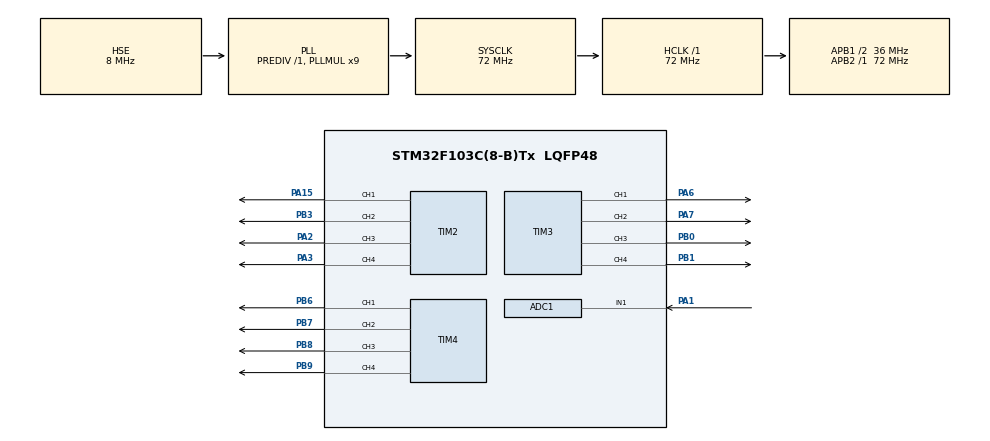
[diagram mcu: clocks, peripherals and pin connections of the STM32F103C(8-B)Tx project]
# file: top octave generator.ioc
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ADC1.Channel-1\#ChannelRegularConversion=ADC_CHANNEL_1
ADC1.NbrOfConversionFlag=1
ADC1.Rank-1\#ChannelRegularConversion=1
ADC1.SamplingTime-1\#ChannelRegularConversion=ADC_SAMPLETIME_1CYCLE_5
ADC1.master=1
Mcu.Family=STM32F1
Mcu.Name=STM32F103C(8-B)Tx
Mcu.Package=LQFP48
NVIC.PriorityGroup=NVIC_PRIORITYGROUP_4
PA1.Signal=ADCx_IN1
PA15.Signal=S_TIM2_CH1_ETR
PA2.Signal=S_TIM2_CH3
PA3.Signal=S_TIM2_CH4
PA6.Signal=S_TIM3_CH1
PA7.Signal=S_TIM3_CH2
PB0.Signal=S_TIM3_CH3
PB1.Signal=S_TIM3_CH4
PB3.Signal=S_TIM2_CH2
PB6.Signal=S_TIM4_CH1
PB7.Signal=S_TIM4_CH2
PB8.Signal=S_TIM4_CH3
PB9.Signal=S_TIM4_CH4
PD0-OSC_IN.Mode=HSE-External-Oscillator
PD0-OSC_IN.Signal=RCC_OSC_IN
PD1-OSC_OUT.Mode=HSE-External-Oscillator
PD1-OSC_OUT.Signal=RCC_OSC_OUT
ProjectManager.HeapSize=0x200
ProjectManager.StackSize=0x400
ProjectManager.TargetToolchain=STM32CubeIDE
RCC.ADCPresc=RCC_ADCPCLK2_DIV6
RCC.AHBFreq_Value=72000000
RCC.APB1CLKDivider=RCC_HCLK_DIV2
RCC.APB1Freq_Value=36000000
RCC.APB1TimFreq_Value=72000000
RCC.APB2Freq_Value=72000000
RCC.APB2TimFreq_Value=72000000
RCC.HCLKFreq_Value=72000000
RCC.PLLMUL=RCC_PLL_MUL9
RCC.PLLSourceVirtual=RCC_PLLSOURCE_HSE
RCC.SYSCLKFreq_VALUE=72000000
RCC.SYSCLKSource=RCC_SYSCLKSOURCE_PLLCLK
RCC.USBFreq_Value=72000000
SH.ADCx_IN1.0=ADC1_IN1,IN1
SH.S_TIM2_CH1_ETR.0=TIM2_CH1,PWM Generation1 CH1
SH.S_TIM2_CH2.0=TIM2_CH2,PWM Generation2 CH2
SH.S_TIM2_CH3.0=TIM2_CH3,PWM Generation3 CH3
SH.S_TIM2_CH4.0=TIM2_CH4,PWM Generation4 CH4
SH.S_TIM3_CH1.0=TIM3_CH1,PWM Generation1 CH1
SH.S_TIM3_CH2.0=TIM3_CH2,PWM Generation2 CH2
SH.S_TIM3_CH3.0=TIM3_CH3,PWM Generation3 CH3
SH.S_TIM3_CH4.0=TIM3_CH4,PWM Generation4 CH4
SH.S_TIM4_CH1.0=TIM4_CH1,PWM Generation1 CH1
SH.S_TIM4_CH2.0=TIM4_CH2,PWM Generation2 CH2
SH.S_TIM4_CH3.0=TIM4_CH3,PWM Generation3 CH3
SH.S_TIM4_CH4.0=TIM4_CH4,PWM Generation4 CH4
TIM2.Channel-PWM\ Generation1\ CH1=TIM_CHANNEL_1
TIM2.Channel-PWM\ Generation2\ CH2=TIM_CHANNEL_2
TIM2.Channel-PWM\ Generation3\ CH3=TIM_CHANNEL_3
TIM2.Channel-PWM\ Generation4\ CH4=TIM_CHANNEL_4
TIM3.Channel-PWM\ Generation1\ CH1=TIM_CHANNEL_1
TIM3.Channel-PWM\ Generation2\ CH2=TIM_CHANNEL_2
TIM3.Channel-PWM\ Generation3\ CH3=TIM_CHANNEL_3
TIM3.Channel-PWM\ Generation4\ CH4=TIM_CHANNEL_4
TIM4.Channel-PWM\ Generation1\ CH1=TIM_CHANNEL_1
TIM4.Channel-PWM\ Generation2\ CH2=TIM_CHANNEL_2
TIM4.Channel-PWM\ Generation3\ CH3=TIM_CHANNEL_3
TIM4.Channel-PWM\ Generation4\ CH4=TIM_CHANNEL_4
VP_SYS_VS_ND.Mode=No_Debug
board=custom

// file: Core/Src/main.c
/* USER CODE BEGIN Header */
/**
  ******************************************************************************
  * @file           : main.c
  * @brief          : Main program body
  ******************************************************************************
  * @attention
  *
  * Copyright (c) 2024 STMicroelectronics.
  * All rights reserved.
  *
  * This software is licensed under terms that can be found in the LICENSE file
  * in the root directory of this software component.
  * If no LICENSE file comes with this software, it is provided AS-IS.
  *
  ******************************************************************************
  */
/* USER CODE END Header */
#include "main.h"

/* USER CODE BEGIN PD */

/* Define PWM periods for the notes C8 to B8 */
#define PWM_PERIOD_C8 17197    // 72 MHz / 4186.01 Hz - 1
#define PWM_PERIOD_CS8 16233   // 72 MHz / 4434.92 Hz - 1
#define PWM_PERIOD_D8 15320    // 72 MHz / 4698.63 Hz - 1
#define PWM_PERIOD_DS8 14459   // 72 MHz / 4978.03 Hz - 1
#define PWM_PERIOD_E8 13649    // 72 MHz / 5274.04 Hz - 1
#define PWM_PERIOD_F8 12888    // 72 MHz / 5587.65 Hz - 1
#define PWM_PERIOD_FS8 12164   // 72 MHz / 5919.91 Hz - 1
#define PWM_PERIOD_G8 11482    // 72 MHz / 6271.93 Hz - 1
#define PWM_PERIOD_GS8 10840   // 72 MHz / 6644.88 Hz - 1
#define PWM_PERIOD_A8 10227    // 72 MHz / 7040.00 Hz - 1
#define PWM_PERIOD_AS8 9640    // 72 MHz / 7458.62 Hz - 1
#define PWM_PERIOD_B8 9112     // 72 MHz / 7902.13 Hz - 1

/* USER CODE END PD */

ADC_HandleTypeDef hadc1;

TIM_HandleTypeDef htim2;
TIM_HandleTypeDef htim3;
TIM_HandleTypeDef htim4;

void SystemClock_Config(void);
static void MX_GPIO_Init(void);
static void MX_ADC1_Init(void);
static void MX_TIM2_Init(void);
static void MX_TIM3_Init(void);
static void MX_TIM4_Init(void);

int main(void)
{

  /* MCU Configuration--------------------------------------------------------*/

  /* Reset of all peripherals, Initializes the Flash interface and the Systick. */
  HAL_Init();

  /* Configure the system clock */
  SystemClock_Config();

  /* Initialize all configured peripherals */
  MX_GPIO_Init();
  MX_ADC1_Init();
  MX_TIM2_Init();
  MX_TIM3_Init();
  MX_TIM4_Init();
  /* USER CODE BEGIN 2 */
  if (HAL_TIM_PWM_Start(&htim2, TIM_CHANNEL_1) != HAL_OK)
  {
    Error_Handler();
  }
  if (HAL_TIM_PWM_Start(&htim2, TIM_CHANNEL_2) != HAL_OK)
  {
    Error_Handler();
  }
  if (HAL_TIM_PWM_Start(&htim2, TIM_CHANNEL_3) != HAL_OK)
  {
    Error_Handler();
  }
  if (HAL_TIM_PWM_Start(&htim2, TIM_CHANNEL_4) != HAL_OK)
  {
    Error_Handler();
  }

  if (HAL_TIM_PWM_Start(&htim3, TIM_CHANNEL_1) != HAL_OK)
  {
    Error_Handler();
  }
  if (HAL_TIM_PWM_Start(&htim3, TIM_CHANNEL_2) != HAL_OK)
  {
    Error_Handler();
  }
  if (HAL_TIM_PWM_Start(&htim3, TIM_CHANNEL_3) != HAL_OK)
  {
    Error_Handler();
  }
  if (HAL_TIM_PWM_Start(&htim3, TIM_CHANNEL_4) != HAL_OK)
  {
    Error_Handler();
  }

  if (HAL_TIM_PWM_Start(&htim4, TIM_CHANNEL_1) != HAL_OK)
  {
    Error_Handler();
  }
  if (HAL_TIM_PWM_Start(&htim4, TIM_CHANNEL_2) != HAL_OK)
  {
    Error_Handler();
  }
  if (HAL_TIM_PWM_Start(&htim4, TIM_CHANNEL_3) != HAL_OK)
  {
    Error_Handler();
  }
  if (HAL_TIM_PWM_Start(&htim4, TIM_CHANNEL_4) != HAL_OK)
  {
    Error_Handler();
  }
  /* USER CODE END 2 */

  /* Infinite loop */
  while (1)
  {

  }
}

void SystemClock_Config(void)
{
  RCC_OscInitTypeDef RCC_OscInitStruct = {0};
  RCC_ClkInitTypeDef RCC_ClkInitStruct = {0};
  RCC_PeriphCLKInitTypeDef PeriphClkInit = {0};

  /** Initializes the RCC Oscillators according to the specified parameters
  * in the RCC_OscInitTypeDef structure.
  */
  RCC_OscInitStruct.OscillatorType = RCC_OSCILLATORTYPE_HSE;
  RCC_OscInitStruct.HSEState = RCC_HSE_ON;
  RCC_OscInitStruct.HSEPredivValue = RCC_HSE_PREDIV_DIV1;
  RCC_OscInitStruct.HSIState = RCC_HSI_ON;
  RCC_OscInitStruct.PLL.PLLState = RCC_PLL_ON;
  RCC_OscInitStruct.PLL.PLLSource = RCC_PLLSOURCE_HSE;
  RCC_OscInitStruct.PLL.PLLMUL = RCC_PLL_MUL9;
  if (HAL_RCC_OscConfig(&RCC_OscInitStruct) != HAL_OK)
  {
    Error_Handler();
  }

  /** Initializes the CPU, AHB and APB buses clocks
  */
  RCC_ClkInitStruct.ClockType = RCC_CLOCKTYPE_HCLK|RCC_CLOCKTYPE_SYSCLK
                              |RCC_CLOCKTYPE_PCLK1|RCC_CLOCKTYPE_PCLK2;
  RCC_ClkInitStruct.SYSCLKSource = RCC_SYSCLKSOURCE_PLLCLK;
  RCC_ClkInitStruct.AHBCLKDivider = RCC_SYSCLK_DIV1;
  RCC_ClkInitStruct.APB1CLKDivider = RCC_HCLK_DIV2;
  RCC_ClkInitStruct.APB2CLKDivider = RCC_HCLK_DIV1;

  if (HAL_RCC_ClockConfig(&RCC_ClkInitStruct, FLASH_LATENCY_2) != HAL_OK)
  {
    Error_Handler();
  }
  PeriphClkInit.PeriphClockSelection = RCC_PERIPHCLK_ADC;
  PeriphClkInit.AdcClockSelection = RCC_ADCPCLK2_DIV6;
  if (HAL_RCCEx_PeriphCLKConfig(&PeriphClkInit) != HAL_OK)
  {
    Error_Handler();
  }
}

static void MX_ADC1_Init(void)
{

  ADC_ChannelConfTypeDef sConfig = {0};

  /** Common config
  */
  hadc1.Instance = ADC1;
  hadc1.Init.ScanConvMode = ADC_SCAN_DISABLE;
  hadc1.Init.ContinuousConvMode = DISABLE;
  hadc1.Init.DiscontinuousConvMode = DISABLE;
  hadc1.Init.ExternalTrigConv = ADC_SOFTWARE_START;
  hadc1.Init.DataAlign = ADC_DATAALIGN_RIGHT;
  hadc1.Init.NbrOfConversion = 1;
  if (HAL_ADC_Init(&hadc1) != HAL_OK)
  {
    Error_Handler();
  }

  /** Configure Regular Channel
  */
  sConfig.Channel = ADC_CHANNEL_1;
  sConfig.Rank = ADC_REGULAR_RANK_1;
  sConfig.SamplingTime = ADC_SAMPLETIME_1CYCLE_5;
  if (HAL_ADC_ConfigChannel(&hadc1, &sConfig) != HAL_OK)
  {
    Error_Handler();
  }

}

static void MX_TIM2_Init(void)
{

  TIM_MasterConfigTypeDef sMasterConfig = {0};
  TIM_OC_InitTypeDef sConfigOC = {0};

  htim2.Instance = TIM2;
  htim2.Init.Prescaler = 0;
  htim2.Init.CounterMode = TIM_COUNTERMODE_UP;
  htim2.Init.Period = 65535;
  htim2.Init.ClockDivision = TIM_CLOCKDIVISION_DIV1;
  htim2.Init.AutoReloadPreload = TIM_AUTORELOAD_PRELOAD_DISABLE;
  if (HAL_TIM_PWM_Init(&htim2) != HAL_OK)
  {
    Error_Handler();
  }
  sMasterConfig.MasterOutputTrigger = TIM_TRGO_RESET;
  sMasterConfig.MasterSlaveMode = TIM_MASTERSLAVEMODE_DISABLE;
  if (HAL_TIMEx_MasterConfigSynchronization(&htim2, &sMasterConfig) != HAL_OK)
  {
    Error_Handler();
  }
  sConfigOC.OCMode = TIM_OCMODE_PWM1;
  sConfigOC.Pulse = 0;
  sConfigOC.OCPolarity = TIM_OCPOLARITY_HIGH;
  sConfigOC.OCFastMode = TIM_OCFAST_DISABLE;
  if (HAL_TIM_PWM_ConfigChannel(&htim2, &sConfigOC, TIM_CHANNEL_1) != HAL_OK)
  {
    Error_Handler();
  }
  if (HAL_TIM_PWM_ConfigChannel(&htim2, &sConfigOC, TIM_CHANNEL_2) != HAL_OK)
  {
    Error_Handler();
  }
  if (HAL_TIM_PWM_ConfigChannel(&htim2, &sConfigOC, TIM_CHANNEL_3) != HAL_OK)
  {
    Error_Handler();
  }
  if (HAL_TIM_PWM_ConfigChannel(&htim2, &sConfigOC, TIM_CHANNEL_4) != HAL_OK)
  {
    Error_Handler();
  }
  HAL_TIM_MspPostInit(&htim2);

}

static void MX_TIM3_Init(void)
{

  TIM_MasterConfigTypeDef sMasterConfig = {0};
  TIM_OC_InitTypeDef sConfigOC = {0};

  htim3.Instance = TIM3;
  htim3.Init.Prescaler = 0;
  htim3.Init.CounterMode = TIM_COUNTERMODE_UP;
  htim3.Init.Period = 65535;
  htim3.Init.ClockDivision = TIM_CLOCKDIVISION_DIV1;
  htim3.Init.AutoReloadPreload = TIM_AUTORELOAD_PRELOAD_DISABLE;
  if (HAL_TIM_PWM_Init(&htim3) != HAL_OK)
  {
    Error_Handler();
  }
  sMasterConfig.MasterOutputTrigger = TIM_TRGO_RESET;
  sMasterConfig.MasterSlaveMode = TIM_MASTERSLAVEMODE_DISABLE;
  if (HAL_TIMEx_MasterConfigSynchronization(&htim3, &sMasterConfig) != HAL_OK)
  {
    Error_Handler();
  }
  sConfigOC.OCMode = TIM_OCMODE_PWM1;
  sConfigOC.Pulse = 0;
  sConfigOC.OCPolarity = TIM_OCPOLARITY_HIGH;
  sConfigOC.OCFastMode = TIM_OCFAST_DISABLE;
  if (HAL_TIM_PWM_ConfigChannel(&htim3, &sConfigOC, TIM_CHANNEL_1) != HAL_OK)
  {
    Error_Handler();
  }
  if (HAL_TIM_PWM_ConfigChannel(&htim3, &sConfigOC, TIM_CHANNEL_2) != HAL_OK)
  {
    Error_Handler();
  }
  if (HAL_TIM_PWM_ConfigChannel(&htim3, &sConfigOC, TIM_CHANNEL_3) != HAL_OK)
  {
    Error_Handler();
  }
  if (HAL_TIM_PWM_ConfigChannel(&htim3, &sConfigOC, TIM_CHANNEL_4) != HAL_OK)
  {
    Error_Handler();
  }
  HAL_TIM_MspPostInit(&htim3);

}

static void MX_TIM4_Init(void)
{

  TIM_MasterConfigTypeDef sMasterConfig = {0};
  TIM_OC_InitTypeDef sConfigOC = {0};

  htim4.Instance = TIM4;
  htim4.Init.Prescaler = 0;
  htim4.Init.CounterMode = TIM_COUNTERMODE_UP;
  htim4.Init.Period = 65535;
  htim4.Init.ClockDivision = TIM_CLOCKDIVISION_DIV1;
  htim4.Init.AutoReloadPreload = TIM_AUTORELOAD_PRELOAD_DISABLE;
  if (HAL_TIM_PWM_Init(&htim4) != HAL_OK)
  {
    Error_Handler();
  }
  sMasterConfig.MasterOutputTrigger = TIM_TRGO_RESET;
  sMasterConfig.MasterSlaveMode = TIM_MASTERSLAVEMODE_DISABLE;
  if (HAL_TIMEx_MasterConfigSynchronization(&htim4, &sMasterConfig) != HAL_OK)
  {
    Error_Handler();
  }
  sConfigOC.OCMode = TIM_OCMODE_PWM1;
  sConfigOC.Pulse = 0;
  sConfigOC.OCPolarity = TIM_OCPOLARITY_HIGH;
  sConfigOC.OCFastMode = TIM_OCFAST_DISABLE;
  if (HAL_TIM_PWM_ConfigChannel(&htim4, &sConfigOC, TIM_CHANNEL_1) != HAL_OK)
  {
    Error_Handler();
  }
  if (HAL_TIM_PWM_ConfigChannel(&htim4, &sConfigOC, TIM_CHANNEL_2) != HAL_OK)
  {
    Error_Handler();
  }
  if (HAL_TIM_PWM_ConfigChannel(&htim4, &sConfigOC, TIM_CHANNEL_3) != HAL_OK)
  {
    Error_Handler();
  }
  if (HAL_TIM_PWM_ConfigChannel(&htim4, &sConfigOC, TIM_CHANNEL_4) != HAL_OK)
  {
    Error_Handler();
  }
  HAL_TIM_MspPostInit(&htim4);

}

static void MX_GPIO_Init(void)
{

  /* GPIO Ports Clock Enable */
  __HAL_RCC_GPIOD_CLK_ENABLE();
  __HAL_RCC_GPIOA_CLK_ENABLE();
  __HAL_RCC_GPIOB_CLK_ENABLE();

}

void Error_Handler(void)
{
  while (1)
  {
  }
}
